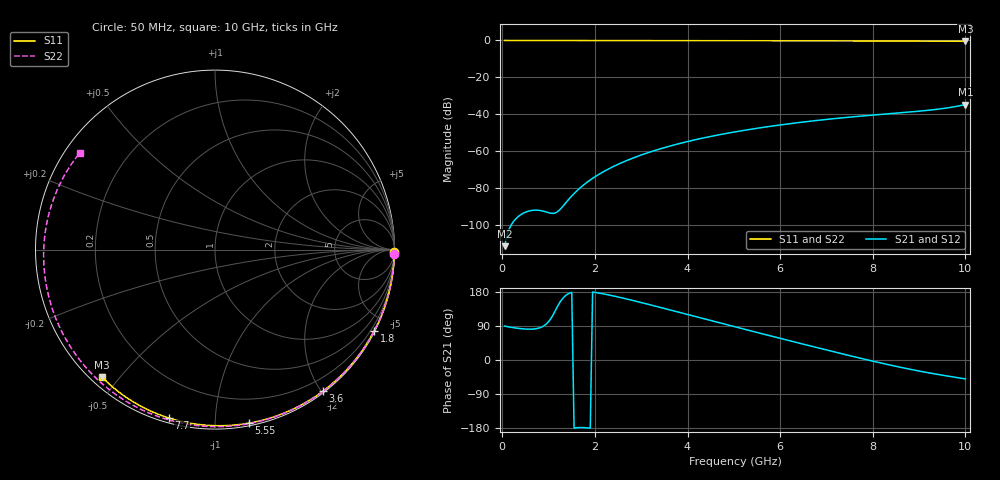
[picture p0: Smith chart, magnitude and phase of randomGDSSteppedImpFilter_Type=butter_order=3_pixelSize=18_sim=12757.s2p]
! freq	dB(S11)	phase(S11)	dB(S12)	phase(S12)
!  dB(S21)	phase(S21)	dB(S22)	phase(S22)
!S-par simulation data
#  GHz  S  DB  R 50
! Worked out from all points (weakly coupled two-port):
!   200 points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, 50 MHz to 10 GHz, reference 50 ohm
!   highest |S21| = -34.66 dB at 10 GHz (marker M1); lowest = -111.3 dB at 50 MHz (marker M2)
!   lowest |S11| = -0.5 dB at 10 GHz (marker M3), VSWR 38.27, Z = 1.57 - j22.5 ohm
!   |S11| at or under -10 dB: nowhere
!   |S22| runs from -0.7 to 0.0 dB; largest |S21 - S12| = 0
!   S11 on the Smith chart (normalised r, x): 50 MHz: open; 1.8 GHz: 0.04, -4.17; 3.6 GHz: 0.02, -2.02; 5.55 GHz: 0.02, -1.22; 7.7 GHz: 0.02, -0.76; 10 GHz: 0.03, -0.45
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0.05  -0.00 -0.8  -111.27 89.5  -111.27 89.5  -0.00 -1.3
0.4  -0.01 -6.1  -94.21 82.7  -94.21 82.7  -0.01 -10.4
0.8  -0.02 -12.1  -91.91 84.6  -91.91 84.6  -0.03 -20.8
1.2  -0.02 -18.1  -92.49 143.1  -92.49 143.1  -0.04 -31.0
1.65  -0.03 -24.8  -80.41 -178.3  -80.41 -178.3  -0.05 -42.3
1.75  -0.03 -26.3  -78.26 -178.3  -78.26 -178.3  -0.06 -44.7
1.8  -0.03 -27.0  -77.27 -178.6  -77.27 -178.6  -0.06 -46.0
2.1  -0.04 -31.4  -72.20 176.5  -72.20 176.5  -0.07 -53.3
2.5  -0.05 -37.2  -66.98 166.3  -66.98 166.3  -0.08 -62.8
2.9  -0.06 -42.9  -62.86 154.6  -62.86 154.6  -0.09 -72.1
3.4  -0.07 -50.0  -58.69 139.1  -58.69 139.1  -0.11 -83.4
3.6  -0.07 -52.8  -57.25 132.8  -57.25 132.8  -0.11 -87.8
4.3  -0.09 -62.4  -52.96 110.5  -52.96 110.5  -0.14 -102.7
5.05  -0.11 -72.4  -49.34 86.8  -49.34 86.8  -0.17 -118.1
5.55  -0.13 -78.8  -47.31 71.1  -47.31 71.1  -0.20 -128.0
6.15  -0.15 -86.4  -45.21 52.5  -45.21 52.5  -0.24 -139.6
6.7  -0.18 -93.2  -43.53 35.6  -43.53 35.6  -0.27 -150.1
7.7  -0.24 -105.3  -41.01 5.6  -41.01 5.6  -0.35 -169.2
8.35  -0.29 -112.9  -39.65 -12.7  -39.65 -12.7  -0.42 178.2
9.2  -0.37 -122.6  -37.76 -33.7  -37.76 -33.7  -0.52 161.2
9.65  -0.41 -127.7  -36.33 -43.1  -36.33 -43.1  -0.60 151.9
10  -0.45 -131.5  -34.66 -49.8  -34.66 -49.8  -0.67 144.4
